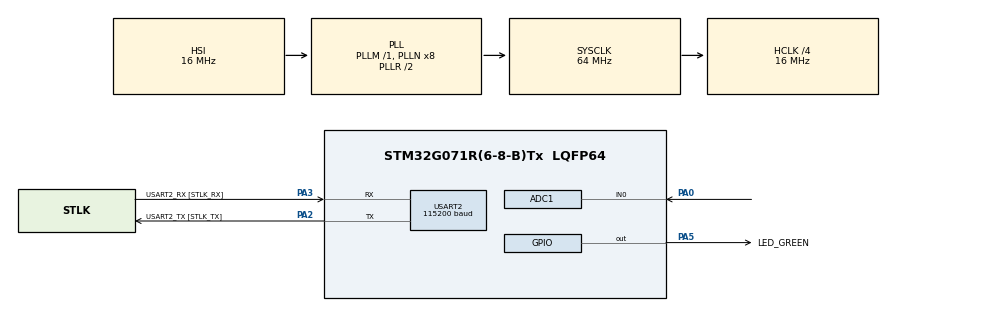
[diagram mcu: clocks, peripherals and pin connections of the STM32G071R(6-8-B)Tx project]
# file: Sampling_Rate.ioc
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ADC1.Channel-0\#ChannelRegularConversion=ADC_CHANNEL_0
ADC1.ClockPrescaler=ADC_CLOCK_SYNC_PCLK_DIV2
ADC1.ContinuousConvMode=ENABLE
ADC1.NbrOfConversionFlag=1
ADC1.Rank-0\#ChannelRegularConversion=1
ADC1.SamplingTime-0\#ChannelRegularConversion=ADC_SAMPLINGTIME_COMMON_1
ADC1.SamplingTimeCommon1=ADC_SAMPLETIME_1CYCLE_5
ADC1.SelectedChannel=ADC_CHANNEL_0
ADC1.master=1
Mcu.Family=STM32G0
Mcu.Name=STM32G071R(6-8-B)Tx
Mcu.Package=LQFP64
PA0.Mode=IN0
PA0.Signal=ADC1_IN0
PA13.GPIO_Label=TMS
PA13.Signal=SYS_SWDIO
PA14-BOOT0.GPIO_Label=TCK
PA14-BOOT0.Signal=SYS_SWCLK
PA2.GPIO_Label=USART2_TX [STLK_TX]
PA2.Mode=Asynchronous
PA2.Signal=USART2_TX
PA3.GPIO_Label=USART2_RX [STLK_RX]
PA3.Mode=Asynchronous
PA3.Signal=USART2_RX
PA5.GPIO_Label=LED_GREEN
PA5.GPIO_Speed=GPIO_SPEED_FREQ_HIGH
PA5.Signal=GPIO_Output
PC13.Signal=SYS_WKUP2
PC14-OSC32_IN\ (PC14).Signal=RCC_OSC32_IN
PC15-OSC32_OUT\ (PC15).Signal=RCC_OSC32_OUT
PF0-OSC_IN\ (PF0).GPIO_Label=MCO
PF0-OSC_IN\ (PF0).Signal=RCC_OSC_IN
ProjectManager.HeapSize=0x200
ProjectManager.StackSize=0x400
ProjectManager.TargetToolchain=STM32CubeIDE
RCC.ADCFreq_Value=64000000
RCC.AHBCLKDivider=RCC_SYSCLK_DIV4
RCC.AHBFreq_Value=16000000
RCC.CortexFreq_Value=16000000
RCC.EXTERNAL_CLOCK_VALUE=12288000
RCC.HCLKFreq_Value=16000000
RCC.HSE_VALUE=8000000
RCC.HSI_VALUE=16000000
RCC.LSE_VALUE=32768
RCC.SYSCLKFreq_VALUE=64000000
RCC.SYSCLKSource=RCC_SYSCLKSOURCE_PLLCLK
RCC.VCOOutputFreq_Value=128000000
TIM6.Prescaler=16000-1
USART2.BaudRate=115200
USART2.VirtualMode-Asynchronous=VM_ASYNC
VP_SYS_VS_DBSignals.Mode=DisableDeadBatterySignals
VP_TIM6_VS_ClockSourceINT.Mode=Enable_Timer
board=NUCLEO-G071RB

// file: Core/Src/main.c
/* USER CODE BEGIN Header */
/**
  ******************************************************************************
  * @file           : main.c
  * @brief          : Main program body
  ******************************************************************************
  * @attention
  *
  * <h2><center>&copy; Copyright (c) 2023 STMicroelectronics.
  * All rights reserved.</center></h2>
  *
  * This software component is licensed by ST under BSD 3-Clause license,
  * the "License"; You may not use this file except in compliance with the
  * License. You may obtain a copy of the License at:
  *                        opensource.org/licenses/BSD-3-Clause
  *
  ******************************************************************************
  */
/* USER CODE END Header */
#include "main.h"

/* USER CODE BEGIN Includes */
#include <stdio.h>
#include <string.h>
/* USER CODE END Includes */

ADC_HandleTypeDef hadc1;

TIM_HandleTypeDef htim6;

UART_HandleTypeDef huart2;

void SystemClock_Config(void);
static void MX_GPIO_Init(void);
static void MX_ADC1_Init(void);
static void MX_TIM6_Init(void);
static void MX_USART2_UART_Init(void);

int main(void)
{
  /* USER CODE BEGIN 1 */
	uint16_t time1;
	uint16_t time2;
	uint16_t final_time;

	char msg[20];
  /* USER CODE END 1 */

  /* MCU Configuration--------------------------------------------------------*/

  /* Reset of all peripherals, Initializes the Flash interface and the Systick. */
  HAL_Init();

  /* Configure the system clock */
  SystemClock_Config();

  /* Initialize all configured peripherals */
  MX_GPIO_Init();
  MX_ADC1_Init();
  MX_TIM6_Init();
  MX_USART2_UART_Init();
  /* USER CODE BEGIN 2 */
  HAL_TIM_Base_Start(&htim6);
  int count=0;
  //int channel_0_raw;
  HAL_ADC_Start(&hadc1);
  /* USER CODE END 2 */

  /* Infinite loop */
  /* USER CODE BEGIN WHILE */
  while (1)
  {
	  time1 =__HAL_TIM_GET_COUNTER(&htim6); // start counting for 1 sec

	  final_time=0;
	  count=0;

	  while(final_time<1000)                 // check for 1 sec compeleted or not
	  {
		  //sprintf(msg,"T1=%hu ",time1);
		  //HAL_UART_Transmit(&huart2, (uint8_t*)msg, sizeof(msg),50);

		  HAL_ADC_PollForConversion(&hadc1, HAL_MAX_DELAY);
		  count++;
		  //channel_0_raw = HAL_ADC_GetValue(&hadc1);
		  //HAL_Delay(0);
		  time2 =__HAL_TIM_GET_COUNTER(&htim6);                          // reading the counter value

		  //sprintf(msg,"T2=%hu ",time2);
		  //HAL_UART_Transmit(&huart2, (uint8_t*)msg, sizeof(msg), 50);
		  final_time = time2 - time1;

	  }

	  sprintf(msg,"rate = %hu\r\n ",count);
	  HAL_UART_Transmit(&huart2, (uint8_t*)msg, sizeof(msg), 50);

    /* USER CODE END WHILE */

  }
}

void SystemClock_Config(void)
{
  RCC_OscInitTypeDef RCC_OscInitStruct = {0};
  RCC_ClkInitTypeDef RCC_ClkInitStruct = {0};
  RCC_PeriphCLKInitTypeDef PeriphClkInit = {0};

  /** Configure the main internal regulator output voltage
  */
  HAL_PWREx_ControlVoltageScaling(PWR_REGULATOR_VOLTAGE_SCALE1);
  /** Initializes the RCC Oscillators according to the specified parameters
  * in the RCC_OscInitTypeDef structure.
  */
  RCC_OscInitStruct.OscillatorType = RCC_OSCILLATORTYPE_HSI;
  RCC_OscInitStruct.HSIState = RCC_HSI_ON;
  RCC_OscInitStruct.HSIDiv = RCC_HSI_DIV1;
  RCC_OscInitStruct.HSICalibrationValue = RCC_HSICALIBRATION_DEFAULT;
  RCC_OscInitStruct.PLL.PLLState = RCC_PLL_ON;
  RCC_OscInitStruct.PLL.PLLSource = RCC_PLLSOURCE_HSI;
  RCC_OscInitStruct.PLL.PLLM = RCC_PLLM_DIV1;
  RCC_OscInitStruct.PLL.PLLN = 8;
  RCC_OscInitStruct.PLL.PLLP = RCC_PLLP_DIV2;
  RCC_OscInitStruct.PLL.PLLQ = RCC_PLLQ_DIV2;
  RCC_OscInitStruct.PLL.PLLR = RCC_PLLR_DIV2;
  if (HAL_RCC_OscConfig(&RCC_OscInitStruct) != HAL_OK)
  {
    Error_Handler();
  }
  /** Initializes the CPU, AHB and APB buses clocks
  */
  RCC_ClkInitStruct.ClockType = RCC_CLOCKTYPE_HCLK|RCC_CLOCKTYPE_SYSCLK
                              |RCC_CLOCKTYPE_PCLK1;
  RCC_ClkInitStruct.SYSCLKSource = RCC_SYSCLKSOURCE_PLLCLK;
  RCC_ClkInitStruct.AHBCLKDivider = RCC_SYSCLK_DIV4;
  RCC_ClkInitStruct.APB1CLKDivider = RCC_HCLK_DIV1;

  if (HAL_RCC_ClockConfig(&RCC_ClkInitStruct, FLASH_LATENCY_0) != HAL_OK)
  {
    Error_Handler();
  }
  /** Initializes the peripherals clocks
  */
  PeriphClkInit.PeriphClockSelection = RCC_PERIPHCLK_USART2|RCC_PERIPHCLK_ADC;
  PeriphClkInit.Usart2ClockSelection = RCC_USART2CLKSOURCE_PCLK1;
  PeriphClkInit.AdcClockSelection = RCC_ADCCLKSOURCE_SYSCLK;
  if (HAL_RCCEx_PeriphCLKConfig(&PeriphClkInit) != HAL_OK)
  {
    Error_Handler();
  }
}

static void MX_ADC1_Init(void)
{

  ADC_ChannelConfTypeDef sConfig = {0};

  /** Configure the global features of the ADC (Clock, Resolution, Data Alignment and number of conversion)
  */
  hadc1.Instance = ADC1;
  hadc1.Init.ClockPrescaler = ADC_CLOCK_SYNC_PCLK_DIV4;
  hadc1.Init.Resolution = ADC_RESOLUTION_12B;
  hadc1.Init.DataAlign = ADC_DATAALIGN_RIGHT;
  hadc1.Init.ScanConvMode = ADC_SCAN_DISABLE;
  hadc1.Init.EOCSelection = ADC_EOC_SINGLE_CONV;
  hadc1.Init.LowPowerAutoWait = DISABLE;
  hadc1.Init.LowPowerAutoPowerOff = DISABLE;
  hadc1.Init.ContinuousConvMode = ENABLE;
  hadc1.Init.NbrOfConversion = 1;
  hadc1.Init.DiscontinuousConvMode = DISABLE;
  hadc1.Init.ExternalTrigConv = ADC_SOFTWARE_START;
  hadc1.Init.ExternalTrigConvEdge = ADC_EXTERNALTRIGCONVEDGE_NONE;
  hadc1.Init.DMAContinuousRequests = DISABLE;
  hadc1.Init.Overrun = ADC_OVR_DATA_PRESERVED;
  hadc1.Init.SamplingTimeCommon1 = ADC_SAMPLETIME_160CYCLES_5;
  hadc1.Init.SamplingTimeCommon2 = ADC_SAMPLETIME_1CYCLE_5;
  hadc1.Init.OversamplingMode = DISABLE;
  hadc1.Init.TriggerFrequencyMode = ADC_TRIGGER_FREQ_HIGH;
  if (HAL_ADC_Init(&hadc1) != HAL_OK)
  {
    Error_Handler();
  }
  /** Configure Regular Channel
  */
  sConfig.Channel = ADC_CHANNEL_0;
  sConfig.Rank = ADC_REGULAR_RANK_1;
  sConfig.SamplingTime = ADC_SAMPLINGTIME_COMMON_1;
  if (HAL_ADC_ConfigChannel(&hadc1, &sConfig) != HAL_OK)
  {
    Error_Handler();
  }

}

static void MX_TIM6_Init(void)
{

  TIM_MasterConfigTypeDef sMasterConfig = {0};

  htim6.Instance = TIM6;
  htim6.Init.Prescaler = 16000-1;
  htim6.Init.CounterMode = TIM_COUNTERMODE_UP;
  htim6.Init.Period = 65535;
  htim6.Init.AutoReloadPreload = TIM_AUTORELOAD_PRELOAD_DISABLE;
  if (HAL_TIM_Base_Init(&htim6) != HAL_OK)
  {
    Error_Handler();
  }
  sMasterConfig.MasterOutputTrigger = TIM_TRGO_RESET;
  sMasterConfig.MasterSlaveMode = TIM_MASTERSLAVEMODE_DISABLE;
  if (HAL_TIMEx_MasterConfigSynchronization(&htim6, &sMasterConfig) != HAL_OK)
  {
    Error_Handler();
  }

}

static void MX_USART2_UART_Init(void)
{

  huart2.Instance = USART2;
  huart2.Init.BaudRate = 115200;
  huart2.Init.WordLength = UART_WORDLENGTH_8B;
  huart2.Init.StopBits = UART_STOPBITS_1;
  huart2.Init.Parity = UART_PARITY_NONE;
  huart2.Init.Mode = UART_MODE_TX_RX;
  huart2.Init.HwFlowCtl = UART_HWCONTROL_NONE;
  huart2.Init.OverSampling = UART_OVERSAMPLING_16;
  huart2.Init.OneBitSampling = UART_ONE_BIT_SAMPLE_DISABLE;
  huart2.Init.ClockPrescaler = UART_PRESCALER_DIV1;
  huart2.AdvancedInit.AdvFeatureInit = UART_ADVFEATURE_NO_INIT;
  if (HAL_UART_Init(&huart2) != HAL_OK)
  {
    Error_Handler();
  }
  if (HAL_UARTEx_SetTxFifoThreshold(&huart2, UART_TXFIFO_THRESHOLD_1_8) != HAL_OK)
  {
    Error_Handler();
  }
  if (HAL_UARTEx_SetRxFifoThreshold(&huart2, UART_RXFIFO_THRESHOLD_1_8) != HAL_OK)
  {
    Error_Handler();
  }
  if (HAL_UARTEx_DisableFifoMode(&huart2) != HAL_OK)
  {
    Error_Handler();
  }

}

static void MX_GPIO_Init(void)
{
  GPIO_InitTypeDef GPIO_InitStruct = {0};

  /* GPIO Ports Clock Enable */
  __HAL_RCC_GPIOC_CLK_ENABLE();
  __HAL_RCC_GPIOF_CLK_ENABLE();
  __HAL_RCC_GPIOA_CLK_ENABLE();

  /*Configure GPIO pin Output Level */
  HAL_GPIO_WritePin(LED_GREEN_GPIO_Port, LED_GREEN_Pin, GPIO_PIN_RESET);

  /*Configure GPIO pin : LED_GREEN_Pin */
  GPIO_InitStruct.Pin = LED_GREEN_Pin;
  GPIO_InitStruct.Mode = GPIO_MODE_OUTPUT_PP;
  GPIO_InitStruct.Pull = GPIO_NOPULL;
  GPIO_InitStruct.Speed = GPIO_SPEED_FREQ_HIGH;
  HAL_GPIO_Init(LED_GREEN_GPIO_Port, &GPIO_InitStruct);

}

void Error_Handler(void)
{
  __disable_irq();
  while (1)
  {
  }
}

/************************ (C) COPYRIGHT STMicroelectronics *****END OF FILE****/
